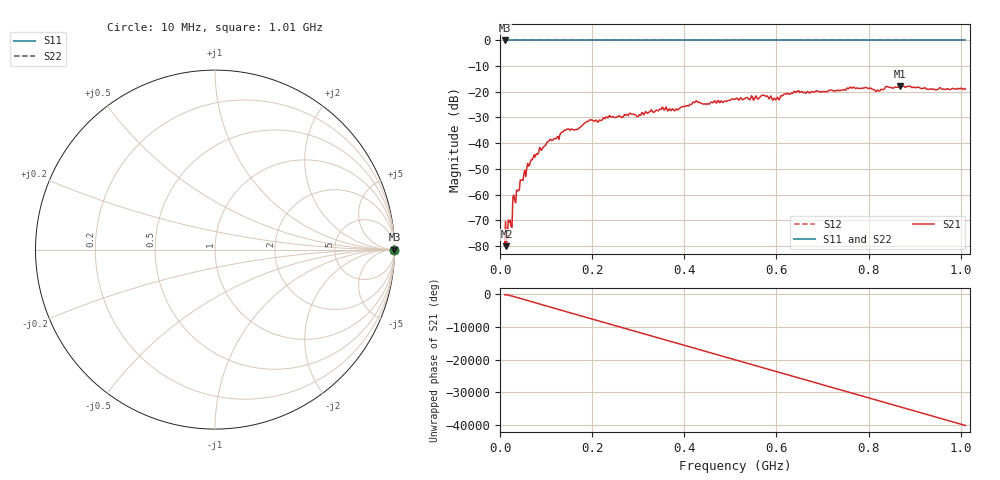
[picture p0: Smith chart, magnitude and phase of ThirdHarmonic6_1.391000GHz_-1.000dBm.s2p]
! 8/16/2025 3:51:32 PM
! C:\ANRITSUVNA\TEMP\TEMP.S2P
! CHANNEL.1
! TR.MEASUREMENT
! RAW.DATA
! RF.CORRECTION.OFF
! AVERAGING.OFF
! IF.BANDWIDTH: 5KHZ
! SWEEPTYPE:  FREQ.SWEEP(Linear)
! Reference Plane Port Info
! PORT:  PORT1  PORT2
! DISTANCE:  0  m  0  m
! TIME:  0  s  0  s
! PHASE.OFFSET:  0  deg.  0  deg.
! LOSS:  0  dB  0  dB
! REF.LOSS:  0  dB  0  dB
! REF.FREQ:  0  Hz  0  Hz
! Power Info
! POWER:  -20  dBm  -20  dBm
! EFF.POWER:  -20  dBm  -20  dBm
! SOURCE.ATTEN:  0  dB  0  dB
! TEST.ATTEN:  0  dB  0  dB
# GHZ S RI R 50.0
! FREQ.GHZ  S11RE  S11IM  S21RE  S21IM  S12RE  S12IM  S22RE  S22IM
!; PortSelection: Port_12
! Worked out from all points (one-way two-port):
!   501 points, 10 MHz to 1.01 GHz, reference 50 ohm
!   highest |S21| = -17.76 dB at 868 MHz (marker M1); lowest = -80.1 dB at 14 MHz (marker M2)
!   lowest |S11| = 0.0 dB at 10 MHz (marker M3)
!   |S11| at or under -10 dB: nowhere
!   |S22| runs from 0.0 to 0.0 dB; largest |S21 - S12| = 1.1
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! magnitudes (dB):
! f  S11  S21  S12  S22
! 10 MHz  0.0  -79.9  0.0  0.0
! 14 MHz  0.0  -80.1  0.0  0.0
! 22 MHz  0.0  -70.0  0.0  0.0
! 32 MHz  0.0  -62.2  0.0  0.0
! 70 MHz  0.0  -46.4  0.0  0.0
! 106 MHz  0.0  -39.2  0.0  0.0
! 142 MHz  0.0  -35.1  0.0  0.0
! 178 MHz  0.0  -33.2  0.0  0.0
! 196 MHz  0.0  -31.0  0.0  0.0
! 344 MHz  0.0  -27.4  0.0  0.0
! 382 MHz  0.0  -26.6  0.0  0.0
! 424 MHz  0.0  -23.8  0.0  0.0
! 510 MHz  0.0  -22.8  0.0  0.0
! 572 MHz  0.0  -21.3  0.0  0.0
! 602 MHz  0.0  -22.1  0.0  0.0
! 644 MHz  0.0  -20.1  0.0  0.0
! 678 MHz  0.0  -20.0  0.0  0.0
! 764 MHz  0.0  -18.6  0.0  0.0
! 820 MHz  0.0  -19.3  0.0  0.0
! 844 MHz  0.0  -18.2  0.0  0.0
! 868 MHz  0.0  -17.8  0.0  0.0
! 1.01 GHz  0.0  -19.0  0.0  0.0
